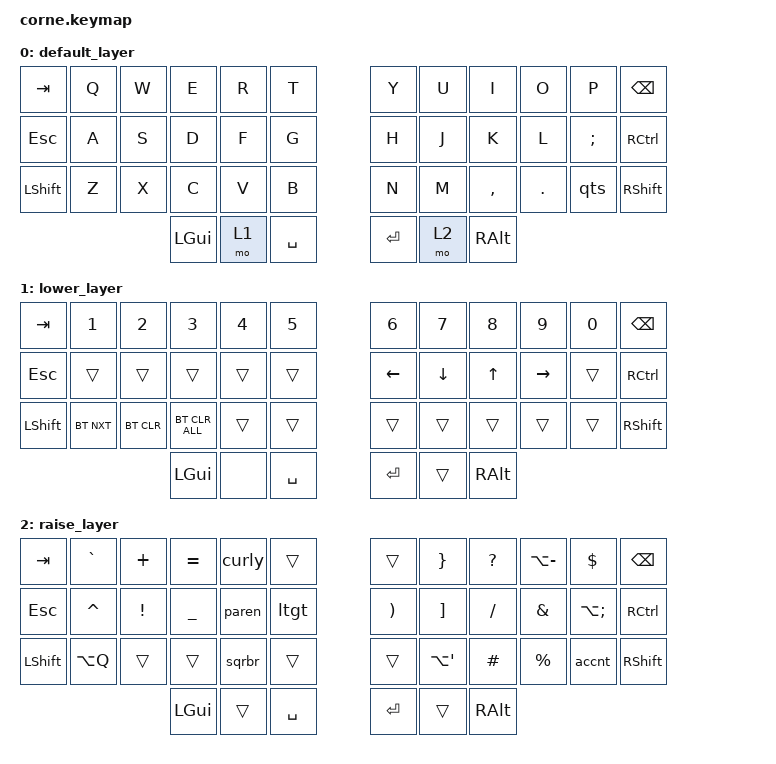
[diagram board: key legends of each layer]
/*
 * Copyright (c) 2020 The ZMK Contributors
 *
 * SPDX-License-Identifier: MIT
 *
 * My custom keyboard for my needs as a developer, vim user and spanish speaker.
 */

#include <behaviors.dtsi>
#include <dt-bindings/zmk/keys.h>
#include <dt-bindings/zmk/bt.h>

/ {
    behaviors {
        qts: quotes {
            compatible = "zmk,behavior-mod-morph";
            label = "QUOTES";
            #binding-cells = <0>;
            bindings = <&kp MINUS>, <&kp AT>;
            mods = <(MOD_LSFT|MOD_RSFT)>;
        };
        curly: curly_brackets {
            compatible = "zmk,behavior-mod-morph";
            label = "CURLY_BRACKETS";
            #binding-cells = <0>;
            bindings = <&kp SQT>, <&kp BSLH>;
            mods = <(MOD_LSFT|MOD_RSFT)>;
        };
        paren: parenthesis {
            compatible = "zmk,behavior-mod-morph";
            label = "PARENTHESIS";
            #binding-cells = <0>;
            bindings = <&kp ASTRK>, <&kp LPAR>;
            mods = <(MOD_LSFT|MOD_RSFT)>;
        };
        sqrbr: square_brackets {
            compatible = "zmk,behavior-mod-morph";
            label = "SQUARE_BRACKETS";
            #binding-cells = <0>;
            bindings = <&kp DQT>, <&kp PIPE>;
            mods = <(MOD_LSFT|MOD_RSFT)>;
        };
        ltgt: less_than_greater_than {
            compatible = "zmk,behavior-mod-morph";
            label = "LESS_THAN_GREATER_THAN";
            #binding-cells = <0>;
            bindings = <&kp LT>, <&kp GT>;
            mods = <(MOD_LSFT|MOD_RSFT)>;
        };
        accnt: accents {
            compatible = "zmk,behavior-mod-morph";
            label = "ACCENTS";
            #binding-cells = <0>;
            bindings = <&kp LBKT>, <&kp LA(BSLH)>;
            mods = <(MOD_LSFT|MOD_RSFT)>;
        };
    };

    keymap {
        compatible = "zmk,keymap";

        default_layer {
// ╭------┬-----┬-----┬-----┬-----┬-----╮               ╭-----┬-----┬-----┬-----┬-----┬------╮
// |  TAB |  Q  |  W  |  E  |  R  |  T  |               |  Y  |  U  |  I  |  O  |  P  | BKSP |
// |  ESC |  A  |  S  |  D  |  F  |  G  |               |  H  |  J  |  K  |  L  |  Ñ  | CTRL |
// | SHFT |  Z  |  X  |  C  |  V  |  B  |-----╮   ╭-----|  N  |  M  |  ,  |  .  |  '  | SHFT |
// ╰------------------------| GUI | LWR | SPC |   | ENT | RSE | ALT |-----┴-----┴-----┴------╯
//                          ╰-----------------╯   ╰-----------------╯
            bindings = <
   &kp TAB   &kp Q &kp W &kp E &kp R    &kp T                     &kp Y &kp U  &kp I     &kp O   &kp P    &kp BSPC
   &kp ESC   &kp A &kp S &kp D &kp F    &kp G                     &kp H &kp J  &kp K     &kp L   &kp SEMI &kp RCTRL
   &kp LSHFT &kp Z &kp X &kp C &kp V    &kp B                     &kp N &kp M  &kp COMMA &kp DOT &qts     &kp RSHFT
                               &kp LGUI &mo 1 &kp SPACE   &kp RET &mo 2 &kp RALT
            >;
        };

        lower_layer {
// ╭------┬------┬------┬-----┬-----┬-----╮               ╭-----┬-----┬-----┬-----┬-----┬------╮
// |  TAB |  1   |  2   |  3  |  4  |  5  |               |  6  |  7  |  8  |  9  |  0  | BKSP |
// |  ESC |      |      |     |     |     |               | LFT | DWN |  UP | RGT |     | CTRL |
// | SHFT |BT_NXT|BT_CLR|CLALL|     |     |-----╮   ╭-----|     |     |     |     |     | SHFT |
// ╰--------------------------| GUI | --- | SPC |   | ENT |     | ALT |-----┴-----┴-----┴------╯
//                            ╰-----------------╯   ╰-----------------╯
            bindings = <
   &kp TAB   &kp N1     &kp N2     &kp N3          &kp N4   &kp N5                      &kp N6   &kp N7   &kp N8 &kp N9    &kp N0 &kp BSPC
   &kp ESC   &trans     &trans     &trans          &trans   &trans                      &kp LEFT &kp DOWN &kp UP &kp RIGHT &trans &kp RCTRL
   &kp LSHFT &bt BT_NXT &bt BT_CLR &bt BT_CLR_ALL  &trans   &trans                      &trans   &trans   &trans &trans    &trans &kp RSHFT
                                                   &kp LGUI &none  &kp SPACE   &kp RET  &trans   &kp RALT
            >;
        };

        raise_layer {
// ╭------┬-----┬-----┬-----┬-----┬-----╮               ╭-----┬-----┬-----┬-----┬-----┬------╮
// |  TAB |  |  |  ¡  |  ¿  | { } |     |               |     |  *  |  _  |  \  |  $  | BKSP |
// |  ESC |  &  |  !  |  ?  | ( ) | < > |               |  =  |  +  |  -  |  /  |  ~  | CTRL |
// | SHFT |  @  |     |     | [ ] |     |-----╮   ╭-----|     |  ^  |  #  |  %  | ´ ` | SHFT |
// ╰------------------------| GUI |     | SPC |   | ENT |     | ALT |-----┴-----┴-----┴------╯
//                          ╰-----------------╯   ╰-----------------╯
            bindings = <
   &kp TAB   &kp GRAVE &kp PLUS  &kp EQUAL &curly   &trans                       &trans   &kp RBRC    &kp QMARK   &kp LA(MINUS) &kp DLLR     &kp BSPC
   &kp ESC   &kp CARET &kp EXCL  &kp UNDER &paren   &ltgt                        &kp RPAR &kp RBKT    &kp FSLH    &kp AMPS      &kp LA(SEMI) &kp RCTRL
   &kp LSHFT &kp LA(Q) &trans    &trans    &sqrbr   &trans                       &trans   &kp LA(SQT) &kp HASH    &kp PRCNT     &accnt       &kp RSHFT
                                           &kp LGUI &trans   &kp SPACE   &kp RET &trans   &kp RALT
            >;
        };
    };
};
